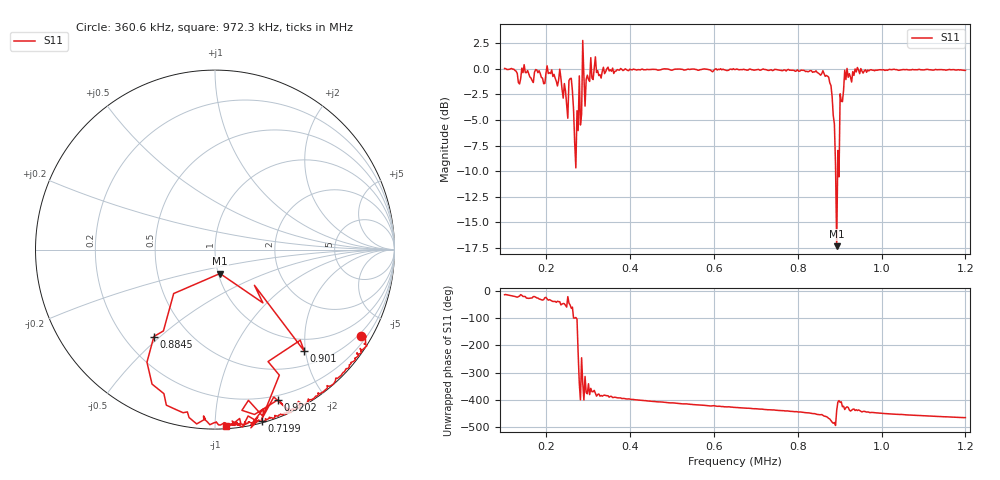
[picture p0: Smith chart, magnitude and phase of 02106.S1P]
!Agilent Technologies,E5071C,MY46100265,A.07.02
!Date: Wed Mar 04 14:18:33 2020
!Data & Calibration Information:
!Freq	S11:SOLT1(ON)
# Hz S RI R 50
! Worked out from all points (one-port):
!   402 points, 100 kHz to 1.2 MHz, reference 50 ohm
!   lowest |S11| = -17.3 dB at 892.8 kHz (marker M1), VSWR 1.32, Z = 51 - j13.8 ohm
!   |S11| at or under -10 dB: 890.2 kHz to 894.9 kHz (4.709 kHz wide, 0.528 % of centre); 897.6587 kHz to 898.4433 kHz (784.7 Hz wide, 0.0874 % of centre)
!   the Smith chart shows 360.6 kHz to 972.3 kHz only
!   S11 on the Smith chart (normalised r, x): 360.6 kHz: 0.38, -3.61; 720 kHz: 0.01, -1.31; 884.5 kHz: 0.32, -0.48; 901 kHz: 0.76, -1.98; 920.2 kHz: 0.16, -1.49; 972.3 kHz: 0.02, -1.06
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100000  0.9696 -0.2517
204239  0.7798 -0.5362
239900  0.4919 -0.523
256359  0.5476 -0.7067
261845  0.3884 -0.6767
270075  -0.0462 -0.3248
275561  -0.3261 0.3774
278304  0.8614 0.328
281047  0.4099 -0.3375
283791  -0.2477 0.546
292020  0.4552 0.4724
311222  0.8714 -0.1525
322195  0.9179 -0.3352
360599  0.815 -0.4828
377057  0.8461 -0.5354
514214  0.6065 -0.7893
651372  0.3818 -0.914
719950  0.2618 -0.9554
788529  0.1359 -0.9728
865337  -0.154 -0.9041
884539  -0.3404 -0.4842
892768  0.0279 -0.1333
900998  0.4974 -0.5657
920200  0.351 -0.8364
925686  0.15 -0.8955
972319  0.062 -0.9837
1062843  -0.0828 -0.9828
1200000  -0.2453 -0.9501
